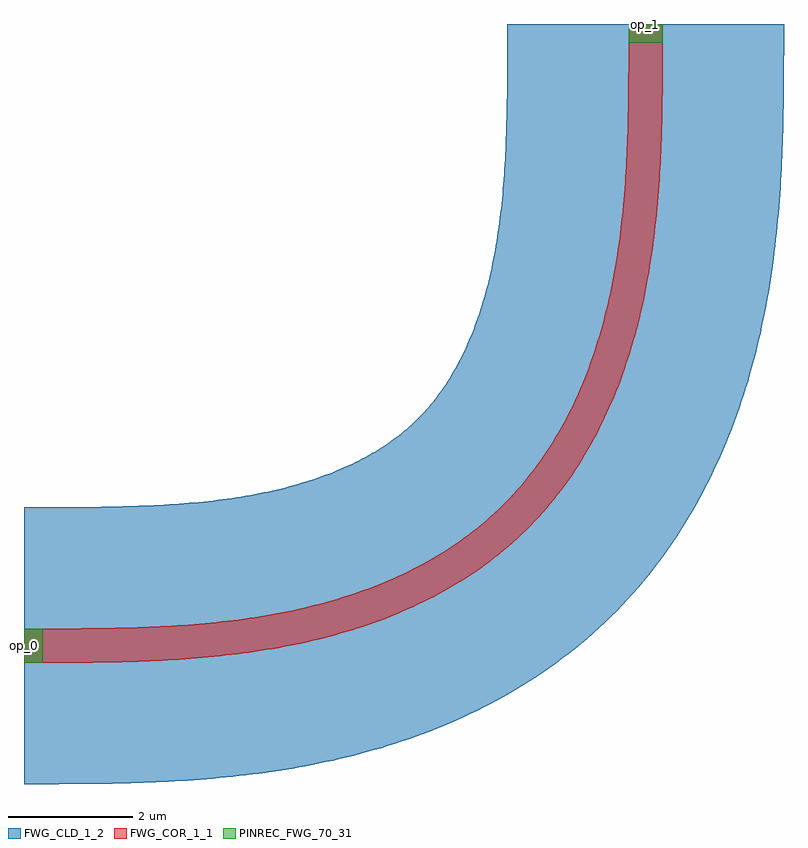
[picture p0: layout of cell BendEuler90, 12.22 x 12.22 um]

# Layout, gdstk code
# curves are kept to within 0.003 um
import gdstk
lib = gdstk.Library(unit=1e-6, precision=1e-09)
def R(c, l, rs):  # rectangles x0, y0, x1, y1
    for r in rs: c.add(gdstk.rectangle(r[:2], r[2:], *l))
def P(c, l, *ps):  # polygons
    for p in ps: c.add(gdstk.Polygon(p, *l))
FWG_COR_1_1 = (1, 1)
FWG_CLD_1_2 = (1, 2)
PINREC_FWG_70_31 = (70, 31)

c_wg = lib.new_cell('wg')
P(c_wg, FWG_COR_1_1, [(0,0.275),(0.826,0.276),(1.648,0.289),(2.193,0.31),(2.825,0.353),(3.274,0.399),(3.72,0.459),(4.161,0.537),(4.598,0.633),(5.029,0.749),(5.451,0.888),(5.864,1.05),(6.264,1.237),(6.42,1.319),(6.65,1.45),(6.873,1.591),(7.018,1.69),(7.298,1.9),(7.433,2.012),(7.627,2.188),(7.752,2.31),(7.872,2.436),(7.988,2.567),(8.154,2.77),(8.36,3.054),(8.504,3.275),(8.638,3.503),(8.722,3.658),(8.878,3.975),(8.984,4.218),(9.05,4.382),(9.17,4.717),(9.25,4.971),(9.323,5.229),(9.427,5.663),(9.512,6.103),(9.554,6.369),(9.621,6.905),(9.668,7.445),(9.702,8.079),(9.72,8.808),(9.725,10),(10.275,10),(10.273,9.078),(10.258,8.244),(10.234,7.686),(10.195,7.127),(10.136,6.568),(10.054,6.01),(9.965,5.547),(9.901,5.271),(9.83,4.996),(9.75,4.723),(9.661,4.452),(9.528,4.096),(9.455,3.919),(9.337,3.658),(9.253,3.487),(9.118,3.234),(8.92,2.904),(8.815,2.744),(8.647,2.509),(8.528,2.357),(8.342,2.136),(8.144,1.924),(8.006,1.789),(7.864,1.658),(7.642,1.471),(7.49,1.353),(7.256,1.185),(7.014,1.028),(6.766,0.882),(6.513,0.747),(6.255,0.622),(5.992,0.508),(5.727,0.403),(5.458,0.308),(5.277,0.25),(5.004,0.17),(4.729,0.099),(4.545,0.055),(4.175,-0.021),(3.711,-0.098),(3.245,-0.158),(2.779,-0.203),(2.407,-0.229),(1.848,-0.255),(1.292,-0.269),(0,-0.275)])
P(c_wg, FWG_CLD_1_2, [(0,2.225),(0.814,2.226),(1.423,2.234),(1.929,2.25),(2.418,2.277),(2.814,2.31),(3.197,2.354),(3.569,2.41),(3.927,2.479),(4.135,2.527),(4.338,2.58),(4.665,2.679),(4.975,2.793),(5.154,2.868),(5.325,2.948),(5.49,3.033),(5.648,3.123),(5.895,3.284),(5.988,3.351),(6.12,3.456),(6.323,3.639),(6.508,3.837),(6.614,3.967),(6.716,4.105),(6.782,4.201),(6.876,4.352),(7.024,4.619),(7.132,4.846),(7.182,4.964),(7.299,5.271),(7.42,5.661),(7.505,6.003),(7.577,6.358),(7.635,6.727),(7.697,7.264),(7.728,7.662),(7.75,8.071),(7.769,8.748),(7.775,10),(12.225,10),(12.22,8.774),(12.21,8.283),(12.196,7.883),(12.169,7.374),(12.146,7.064),(12.118,6.75),(12.071,6.327),(12.011,5.898),(11.957,5.574),(11.894,5.247),(11.822,4.918),(11.709,4.477),(11.612,4.145),(11.503,3.813),(11.382,3.482),(11.247,3.151),(11.15,2.931),(10.991,2.604),(10.818,2.28),(10.63,1.96),(10.426,1.645),(10.205,1.337),(10.049,1.136),(9.885,0.939),(9.625,0.651),(9.349,0.375),(9.158,0.2),(8.864,-0.049),(8.662,-0.205),(8.458,-0.354),(8.145,-0.564),(7.827,-0.758),(7.396,-0.992),(7.069,-1.15),(6.629,-1.339),(6.186,-1.503),(5.744,-1.646),(5.523,-1.71),(5.192,-1.796),(4.753,-1.894),(4.318,-1.976),(3.887,-2.043),(3.567,-2.084),(3.25,-2.118),(2.729,-2.162),(2.117,-2.196),(1.519,-2.215),(0.937,-2.223),(0,-2.225)])
R(c_wg, PINREC_FWG_70_31, [(0,-0.275,0.3,0.275), (9.725,9.7,10.275,10)])
c_wg.add(gdstk.Label('op_0', (0,0), layer=70, texttype=41))
c_wg.add(gdstk.Label('op_1', (10,10), layer=70, texttype=41))

bendeuler90 = lib.new_cell('BendEuler90')
R(bendeuler90, PINREC_FWG_70_31, [(0,-0.275,0.3,0.275), (9.725,9.7,10.275,10)])
bendeuler90.add(gdstk.Reference(c_wg, (0,0)))
bendeuler90.add(gdstk.Label('op_0', (0,0), layer=70, texttype=41))
bendeuler90.add(gdstk.Label('op_1', (10,10), layer=70, texttype=41))

lib.write_gds('BendEuler90.gds')
